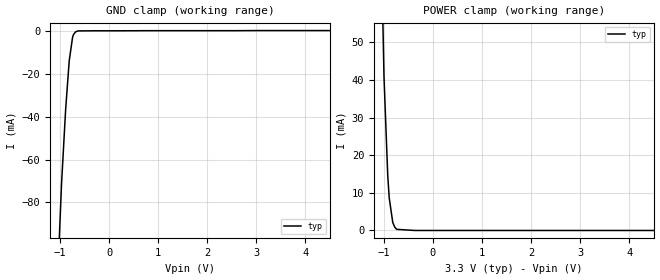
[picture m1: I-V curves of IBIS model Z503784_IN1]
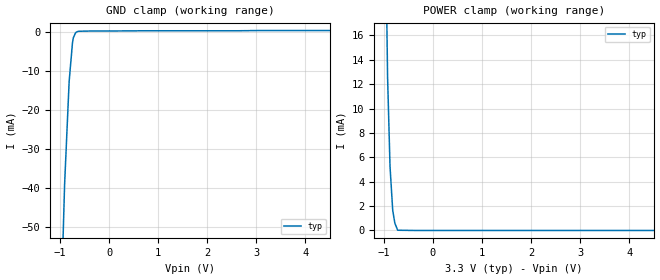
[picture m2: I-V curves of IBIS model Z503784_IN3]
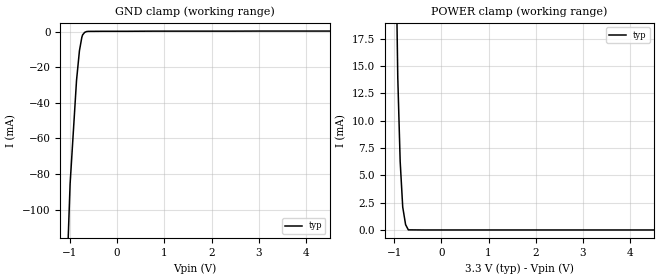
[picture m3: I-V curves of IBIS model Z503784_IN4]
| YOU ARE ONLY AUTHORIZED TO USE THIS SOFTWARE
| ACCORDING TO LICENSOR'S LICENSE RESTRICTIONS.
[IBIS Ver] 3.1
[File Name] mc74ac373n_33.ibs
[File Rev] 2.0
[Source] Measured and created by ICX Technology
[Date] Friday 7/14/00 9:08:00 AM
[Copyright]
| (C) COPYRIGHT 1993-2000
| MENTOR GRAPHICS CORPORATION
| ICX STANDARD LIBRARY, ICX PROJECT MODELING,
| ICX CUSTOM MODELING, ICX VENDOR MODEL
| ALL RIGHTS RESERVED.
| THE FOLLOWING ARE TRADEMARKS OR SERVICE MARKS OF
| MENTOR GRAPHICS CORPORATION:ICX (R), ICX STANDARD
| LIBRARY(R), ICX PROJECT MODELING(R), ICX CUSTOM
| MODELING(R), qualityIBIS(TM), MODELVIEWER(TM),
| AND MODELEDITOR(TM)
| ALL COPIES OF SOFTWARE, INCLUDING BUT NOT LIMITED TO
| ANY MODIFICATIONS, ENHANCEMENTS OR DERIVATIVE WORKS,
| MUST CONTAIN ALL MENTOR GRAPHICS CORPORATION'S
| NOTICES AND LEGENDS, INCLUDING THOSE EMBEDDED IN
| SOFTWARE AND THOSE AFFIXED TO SOFTWARE MEDIUM
| AND CONTAINER, AS RECEIVED FROM MENTOR GRAPHICS
| CORPORATION.
|  ZAP Model Builder 2.7
[Component] MC74AC373N_33
[Manufacturer] OnSemiconductor
[Package]
| variable   typ   min   max
R_pkg  .216ohms NA NA
L_pkg  5.76nH NA NA
C_pkg  1.29pF NA NA
[Pin] signal_name  model_name  R_pin  L_pin C_pin
1 _G Z503784_IN1 .232 9.76n 1.87p
2 Q0 Z503784_TRI2 .224 7.26n 1.58p
3 D0 Z503784_IN3 .216 5.26n 1.29p
4 D1 Z503784_IN3 .208 3.76n 1.0p
5 Q1 Z503784_TRI2 .2 2.76n .71p
6 Q2 Z503784_TRI2 .2 2.76n .71p
7 D2 Z503784_IN3 .208 3.76n 1.0p
8 D3 Z503784_IN3 .216 5.26n 1.29p
9 Q3 Z503784_TRI2 .224 7.26n 1.58p
10 GND GND .232 9.76n 1.87p
11 C Z503784_IN4 .232 9.76n 1.87p
12 Q4 Z503784_TRI2 .224 7.26n 1.58p
13 D4 Z503784_IN3 .216 5.26n 1.29p
14 D5 Z503784_IN3 .208 3.76n 1.0p
15 Q5 Z503784_TRI2 .2 2.76n .71p
16 Q6 Z503784_TRI2 .2 2.76n .71p
17 D6 Z503784_IN3 .208 3.76n 1.0p
18 D7 Z503784_IN3 .216 5.26n 1.29p
19 Q7 Z503784_TRI2 .224 7.26n 1.58p
20 VCC POWER .232 9.76n 1.87p
| Models and submodels in the file (4): Z503784_IN1 (Input), Z503784_IN3 (Input), Z503784_IN4 (Input), Z503784_TRI2 (3-state)
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| (C) COPYRIGHT 1993-2000
| MENTOR GRAPHICS CORPORATION
| ICX STANDARD LIBRARY, ICX PROJECT MODELING,
| ICX CUSTOM MODELING, ICX VENDOR MODEL
| ALL RIGHTS RESERVED.
| THE FOLLOWING ARE TRADEMARKS OR SERVICE MARKS OF
| MENTOR GRAPHICS CORPORATION:ICX (R), ICX STANDARD
| LIBRARY(R), ICX PROJECT MODELING(R), ICX CUSTOM
| MODELING(R), qualityIBIS(TM), MODELVIEWER(TM),
| AND MODELEDITOR(TM)
| ALL COPIES OF SOFTWARE, INCLUDING BUT NOT LIMITED TO
| ANY MODIFICATIONS, ENHANCEMENTS OR DERIVATIVE WORKS,
| MUST CONTAIN ALL MENTOR GRAPHICS CORPORATION'S
| NOTICES AND LEGENDS, INCLUDING THOSE EMBEDDED IN
| SOFTWARE AND THOSE AFFIXED TO SOFTWARE MEDIUM
| AND CONTAINER, AS RECEIVED FROM MENTOR GRAPHICS
| CORPORATION.
| Model Application Version 1.89 2/18/99.
[Model] Z503784_IN1
Model_type Input
Vinl = 990.0mV
Vinh = 2.310V
C_comp 4.000pF NA NA
| variable typ   min   max
[Voltage Range] 3.300V NA NA
[GND Clamp Reference] 0.000V NA NA
[POWER Clamp Reference] 3.300V NA NA
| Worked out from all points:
|   GND clamp passes 1 mA (typ) near -0.71 V on its own axis
|   POWER clamp passes 1 mA (typ) near -0.78 V on its own axis
[GND Clamp]
-3.3V     -2.102A    NA         NA
-1.035V   -107.5mA   NA         NA
-971.2mV  -71.66mA   NA         NA
-888.4mV  -37.2mA    NA         NA
-814.7mV  -14.04mA   NA         NA
-747.6mV  -3.186mA   NA         NA
-730.8mV  -1.823mA   NA         NA
-687.3mV  -416.3uA   NA         NA
-648.4mV  -11.69uA   NA         NA
6.6V      237.6uA    NA         NA
[POWER Clamp]
-3.3V     2.176A     NA         NA
-1.114V   116.2mA    NA         NA
-997mV    40.86mA    NA         NA
-921mV    14.74mA    NA         NA
-890mV    8.599mA    NA         NA
-818mV    2.119mA    NA         NA
-775mV    822.4uA    NA         NA
-737mV    299.5uA    NA         NA
-368.5mV  0A         NA         NA
6.6V      0A         NA         NA
| (C) COPYRIGHT 1993-2000
| MENTOR GRAPHICS CORPORATION
| ICX STANDARD LIBRARY, ICX PROJECT MODELING,
| ICX CUSTOM MODELING, ICX VENDOR MODEL
| ALL RIGHTS RESERVED.
| THE FOLLOWING ARE TRADEMARKS OR SERVICE MARKS OF
| MENTOR GRAPHICS CORPORATION:ICX (R), ICX STANDARD
| LIBRARY(R), ICX PROJECT MODELING(R), ICX CUSTOM
| MODELING(R), qualityIBIS(TM), MODELVIEWER(TM),
| AND MODELEDITOR(TM)
| ALL COPIES OF SOFTWARE, INCLUDING BUT NOT LIMITED TO
| ANY MODIFICATIONS, ENHANCEMENTS OR DERIVATIVE WORKS,
| MUST CONTAIN ALL MENTOR GRAPHICS CORPORATION'S
| NOTICES AND LEGENDS, INCLUDING THOSE EMBEDDED IN
| SOFTWARE AND THOSE AFFIXED TO SOFTWARE MEDIUM
| AND CONTAINER, AS RECEIVED FROM MENTOR GRAPHICS
| CORPORATION.
| Model Application Version 1.89 2/18/99.
[Model] Z503784_IN3
Model_type Input
Vinl = 990.0mV
Vinh = 2.310V
C_comp 4.000pF NA NA
| variable typ   min   max
[Voltage Range] 3.300V NA NA
[GND Clamp Reference] 0.000V NA NA
[POWER Clamp Reference] 3.300V NA NA
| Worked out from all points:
|   GND clamp passes 1 mA (typ) near -0.71 V on its own axis
|   POWER clamp passes 1 mA (typ) near -0.79 V on its own axis
[GND Clamp]
-3.3V     -1.773A    NA         NA
-1.045V   -99.35mA   NA         NA
-908.2mV  -39.21mA   NA         NA
-815.3mV  -12.71mA   NA         NA
-747.3mV  -2.841mA   NA         NA
-731mV    -1.61mA    NA         NA
-687.4mV  -364.8uA   NA         NA
-667.5mV  -115uA     NA         NA
-628mV    88.76uA    NA         NA
-314mV    170.4uA    NA         NA
6.6V      276.2uA    NA         NA
[POWER Clamp]
-3.3V     1.49A      NA         NA
-1.134V   97.48mA    NA         NA
-1.016V   40.3mA     NA         NA
-924mV    12.61mA    NA         NA
-874mV    5.245mA    NA         NA
-819mV    1.648mA    NA         NA
-776mV    602.2uA    NA         NA
-718mV    20.1uA     NA         NA
-359mV    0A         NA         NA
6.6V      0A         NA         NA
| (C) COPYRIGHT 1993-2000
| MENTOR GRAPHICS CORPORATION
| ICX STANDARD LIBRARY, ICX PROJECT MODELING,
| ICX CUSTOM MODELING, ICX VENDOR MODEL
| ALL RIGHTS RESERVED.
| THE FOLLOWING ARE TRADEMARKS OR SERVICE MARKS OF
| MENTOR GRAPHICS CORPORATION:ICX (R), ICX STANDARD
| LIBRARY(R), ICX PROJECT MODELING(R), ICX CUSTOM
| MODELING(R), qualityIBIS(TM), MODELVIEWER(TM),
| AND MODELEDITOR(TM)
| ALL COPIES OF SOFTWARE, INCLUDING BUT NOT LIMITED TO
| ANY MODIFICATIONS, ENHANCEMENTS OR DERIVATIVE WORKS,
| MUST CONTAIN ALL MENTOR GRAPHICS CORPORATION'S
| NOTICES AND LEGENDS, INCLUDING THOSE EMBEDDED IN
| SOFTWARE AND THOSE AFFIXED TO SOFTWARE MEDIUM
| AND CONTAINER, AS RECEIVED FROM MENTOR GRAPHICS
| CORPORATION.
| Model Application Version 1.89 2/18/99.
[Model] Z503784_IN4
Model_type Input
Vinl = 990.0mV
Vinh = 2.310V
C_comp 4.000pF NA NA
| variable typ   min   max
[Voltage Range] 3.300V NA NA
[GND Clamp Reference] 0.000V NA NA
[POWER Clamp Reference] 3.300V NA NA
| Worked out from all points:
|   GND clamp passes 1 mA (typ) near -0.70 V on its own axis
|   POWER clamp passes 1 mA (typ) near -0.78 V on its own axis
[GND Clamp]
-3.3V     -2.442A    NA         NA
-1.074V   -145mA     NA         NA
-995.9mV  -85.72mA   NA         NA
-859.4mV  -27.4mA    NA         NA
-797.7mV  -10.73mA   NA         NA
-747.1mV  -3.254mA   NA         NA
-730.7mV  -1.877mA   NA         NA
-687.6mV  -471.4uA   NA         NA
-648.5mV  -8.443uA   NA         NA
6.6V      274.8uA    NA         NA
[POWER Clamp]
-3.3V     1.358A     NA         NA
-1.173V   116.8mA    NA         NA
-1.015V   41.78mA    NA         NA
-922mV    14.01mA    NA         NA
-871mV    6.275mA    NA         NA
-817mV    2.102mA    NA         NA
-756mV    486.2uA    NA         NA
-698mV    10.3uA     NA         NA
-349mV    0A         NA         NA
6.6V      0A         NA         NA
